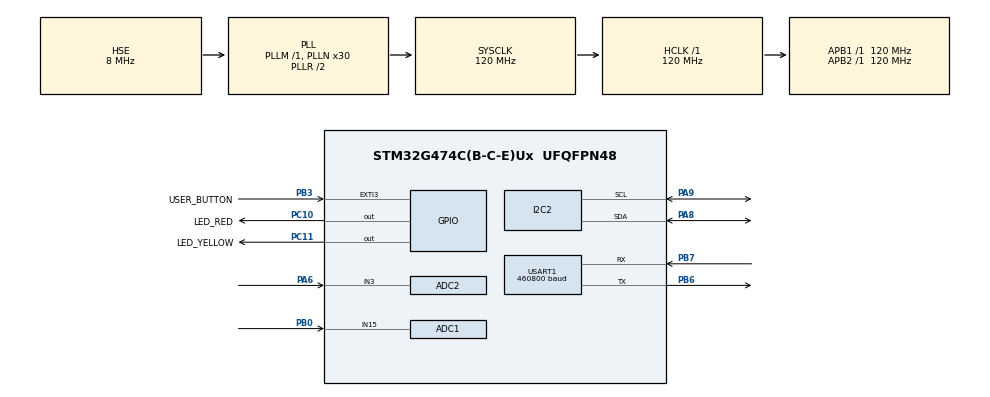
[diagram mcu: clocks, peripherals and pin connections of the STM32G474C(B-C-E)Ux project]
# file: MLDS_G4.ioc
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ADC1.Channel-0\#ChannelRegularConversion=ADC_CHANNEL_15
ADC1.ContinuousConvMode=ENABLE
ADC1.DMAContinuousRequests=ENABLE
ADC1.NbrOfConversionFlag=1
ADC1.OffsetNumber-0\#ChannelRegularConversion=ADC_OFFSET_NONE
ADC1.Rank-0\#ChannelRegularConversion=1
ADC1.SamplingTime-0\#ChannelRegularConversion=ADC_SAMPLETIME_47CYCLES_5
ADC1.master=1
ADC2.Channel-0\#ChannelRegularConversion=ADC_CHANNEL_3
ADC2.ContinuousConvMode=ENABLE
ADC2.DMAContinuousRequests=ENABLE
ADC2.NbrOfConversionFlag=1
ADC2.OffsetNumber-0\#ChannelRegularConversion=ADC_OFFSET_NONE
ADC2.OversamplingMode=ENABLE
ADC2.Rank-0\#ChannelRegularConversion=1
ADC2.Ratio=ADC_OVERSAMPLING_RATIO_128
ADC2.RightBitShift=ADC_RIGHTBITSHIFT_7
ADC2.SamplingTime-0\#ChannelRegularConversion=ADC_SAMPLETIME_247CYCLES_5
ARM.CMSIS.5.6.0.CMSISJjDSP=Library
Dma.ADC1.2.Direction=DMA_PERIPH_TO_MEMORY
Dma.ADC1.2.EventEnable=DISABLE
Dma.ADC1.2.Instance=DMA1_Channel1
Dma.ADC1.2.MemDataAlignment=DMA_MDATAALIGN_HALFWORD
Dma.ADC1.2.MemInc=DMA_MINC_ENABLE
Dma.ADC1.2.Mode=DMA_CIRCULAR
Dma.ADC1.2.PeriphDataAlignment=DMA_PDATAALIGN_HALFWORD
Dma.ADC1.2.PeriphInc=DMA_PINC_DISABLE
Dma.ADC1.2.Polarity=HAL_DMAMUX_REQ_GEN_RISING
Dma.ADC1.2.Priority=DMA_PRIORITY_VERY_HIGH
Dma.ADC1.2.RequestNumber=1
Dma.ADC1.2.SignalID=NONE
Dma.ADC1.2.SyncEnable=DISABLE
Dma.ADC1.2.SyncPolarity=HAL_DMAMUX_SYNC_NO_EVENT
Dma.ADC1.2.SyncRequestNumber=1
Dma.ADC1.2.SyncSignalID=NONE
Dma.ADC2.1.Direction=DMA_PERIPH_TO_MEMORY
Dma.ADC2.1.EventEnable=DISABLE
Dma.ADC2.1.Instance=DMA1_Channel3
Dma.ADC2.1.MemDataAlignment=DMA_MDATAALIGN_HALFWORD
Dma.ADC2.1.MemInc=DMA_MINC_ENABLE
Dma.ADC2.1.Mode=DMA_CIRCULAR
Dma.ADC2.1.PeriphDataAlignment=DMA_PDATAALIGN_HALFWORD
Dma.ADC2.1.PeriphInc=DMA_PINC_DISABLE
Dma.ADC2.1.Polarity=HAL_DMAMUX_REQ_GEN_RISING
Dma.ADC2.1.Priority=DMA_PRIORITY_HIGH
Dma.ADC2.1.RequestNumber=1
Dma.ADC2.1.SignalID=NONE
Dma.ADC2.1.SyncEnable=DISABLE
Dma.ADC2.1.SyncPolarity=HAL_DMAMUX_SYNC_NO_EVENT
Dma.ADC2.1.SyncRequestNumber=1
Dma.ADC2.1.SyncSignalID=NONE
Dma.Request0=USART1_TX
Dma.Request1=ADC2
Dma.Request2=ADC1
Dma.Request3=USART1_RX
Dma.USART1_RX.3.Direction=DMA_PERIPH_TO_MEMORY
Dma.USART1_RX.3.EventEnable=DISABLE
Dma.USART1_RX.3.Instance=DMA1_Channel4
Dma.USART1_RX.3.MemDataAlignment=DMA_MDATAALIGN_BYTE
Dma.USART1_RX.3.MemInc=DMA_MINC_ENABLE
Dma.USART1_RX.3.Mode=DMA_NORMAL
Dma.USART1_RX.3.PeriphDataAlignment=DMA_PDATAALIGN_BYTE
Dma.USART1_RX.3.PeriphInc=DMA_PINC_DISABLE
Dma.USART1_RX.3.Polarity=HAL_DMAMUX_REQ_GEN_RISING
Dma.USART1_RX.3.Priority=DMA_PRIORITY_LOW
Dma.USART1_RX.3.RequestNumber=1
Dma.USART1_RX.3.SignalID=NONE
Dma.USART1_RX.3.SyncEnable=DISABLE
Dma.USART1_RX.3.SyncPolarity=HAL_DMAMUX_SYNC_NO_EVENT
Dma.USART1_RX.3.SyncRequestNumber=1
Dma.USART1_RX.3.SyncSignalID=NONE
Dma.USART1_TX.0.Direction=DMA_MEMORY_TO_PERIPH
Dma.USART1_TX.0.EventEnable=DISABLE
Dma.USART1_TX.0.Instance=DMA1_Channel2
Dma.USART1_TX.0.MemDataAlignment=DMA_MDATAALIGN_BYTE
Dma.USART1_TX.0.MemInc=DMA_MINC_ENABLE
Dma.USART1_TX.0.Mode=DMA_NORMAL
Dma.USART1_TX.0.PeriphDataAlignment=DMA_PDATAALIGN_BYTE
Dma.USART1_TX.0.PeriphInc=DMA_PINC_DISABLE
Dma.USART1_TX.0.Polarity=HAL_DMAMUX_REQ_GEN_RISING
Dma.USART1_TX.0.Priority=DMA_PRIORITY_MEDIUM
Dma.USART1_TX.0.RequestNumber=1
Dma.USART1_TX.0.SignalID=NONE
Dma.USART1_TX.0.SyncEnable=DISABLE
Dma.USART1_TX.0.SyncPolarity=HAL_DMAMUX_SYNC_NO_EVENT
Dma.USART1_TX.0.SyncRequestNumber=1
Dma.USART1_TX.0.SyncSignalID=NONE
I2C2.OwnAddress=64
I2C2.Timing=0x30A175AB
Mcu.Family=STM32G4
Mcu.Name=STM32G474C(B-C-E)Ux
Mcu.Package=UFQFPN48
NVIC.DMA1_Channel1_IRQn=true\:0\:0\:false\:false\:true\:false\:true\:true
NVIC.DMA1_Channel2_IRQn=true\:0\:0\:false\:false\:true\:false\:true\:true
NVIC.DMA1_Channel3_IRQn=true\:0\:0\:false\:false\:true\:false\:true\:true
NVIC.DMA1_Channel4_IRQn=true\:0\:0\:false\:false\:true\:false\:true\:true
NVIC.EXTI3_IRQn=true\:0\:0\:false\:false\:true\:true\:true\:true
NVIC.I2C2_ER_IRQn=true\:0\:0\:false\:false\:true\:true\:true\:true
NVIC.I2C2_EV_IRQn=true\:0\:0\:false\:false\:true\:true\:true\:true
NVIC.PriorityGroup=NVIC_PRIORITYGROUP_4
NVIC.TIM2_IRQn=true\:0\:0\:false\:false\:true\:true\:true\:true
NVIC.USART1_IRQn=true\:1\:0\:true\:false\:true\:true\:true\:true
PA13.Mode=Serial_Wire
PA13.Signal=SYS_JTMS-SWDIO
PA14.Mode=Serial_Wire
PA14.Signal=SYS_JTCK-SWCLK
PA6.Mode=IN3-Single-Ended
PA6.Signal=ADC2_IN3
PA8.Mode=I2C
PA8.Signal=I2C2_SDA
PA9.Mode=I2C
PA9.Signal=I2C2_SCL
PB0.Mode=IN15-Single-Ended
PB0.Signal=ADC1_IN15
PB3.GPIO_Label=USER_BUTTON
PB3.GPIO_ModeDefaultEXTI=GPIO_MODE_IT_RISING_FALLING
PB3.GPIO_PuPd=GPIO_PULLUP
PB3.Signal=GPXTI3
PB6.Mode=Asynchronous
PB6.Signal=USART1_TX
PB7.Mode=Asynchronous
PB7.Signal=USART1_RX
PC10.GPIO_Label=LED_RED
PC10.Signal=GPIO_Output
PC11.GPIO_Label=LED_YELLOW
PC11.Signal=GPIO_Output
PF0-OSC_IN.Mode=HSE-External-Oscillator
PF0-OSC_IN.Signal=RCC_OSC_IN
PF1-OSC_OUT.Mode=HSE-External-Oscillator
PF1-OSC_OUT.Signal=RCC_OSC_OUT
ProjectManager.HeapSize=0x200
ProjectManager.StackSize=0x400
ProjectManager.TargetToolchain=STM32CubeIDE
RCC.ADC12Freq_Value=120000000
RCC.ADC345Freq_Value=120000000
RCC.AHBFreq_Value=120000000
RCC.APB1Freq_Value=120000000
RCC.APB1TimFreq_Value=120000000
RCC.APB2Freq_Value=120000000
RCC.APB2TimFreq_Value=120000000
RCC.CortexFreq_Value=120000000
RCC.EXTERNAL_CLOCK_VALUE=12288000
RCC.HCLKFreq_Value=120000000
RCC.HSE_VALUE=8000000
RCC.HSI48_VALUE=48000000
RCC.HSI_VALUE=16000000
RCC.LSE_VALUE=32768
RCC.PLLN=30
RCC.PLLSourceVirtual=RCC_PLLSOURCE_HSE
RCC.SYSCLKFreq_VALUE=120000000
RCC.SYSCLKSource=RCC_SYSCLKSOURCE_PLLCLK
RCC.USBFreq_Value=120000000
RCC.VCOOutputFreq_Value=240000000
TIM2.AutoReloadPreload=TIM_AUTORELOAD_PRELOAD_DISABLE
TIM2.PeriodNoDither=9999999
TIM2.Prescaler=119
USART1.BaudRate=460800
USART1.VirtualMode-Asynchronous=VM_ASYNC
VP_ARM.CMSIS_VS_CMSISJjDSP_1.7.0_5.6.0.Mode=CMSISJjDSP
VP_SYS_VS_DBSignals.Mode=DisableDeadBatterySignals
VP_TIM2_VS_ClockSourceINT.Mode=Internal
board=custom

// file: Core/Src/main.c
/* USER CODE BEGIN Header */
/**
  ******************************************************************************
  * @file           : main.c
  * @brief          : Main program body
  ******************************************************************************
  * @attention
  *
  * Copyright (c) 2026 STMicroelectronics.
  * All rights reserved.
  *
  * This software is licensed under terms that can be found in the LICENSE file
  * in the root directory of this software component.
  * If no LICENSE file comes with this software, it is provided AS-IS.
  *
  ******************************************************************************
  */
/* USER CODE END Header */
#include "main.h"

/* USER CODE BEGIN Includes */
#include <string.h>
#include <math.h>
#include <float.h>
#include <stdio.h>
#include <sys/stat.h>

#include "CV.h"
#include "laser.h"
#include "fit.h"
#include "util.h"
#include "i2c_slave.h"
/* USER CODE END Includes */

/* USER CODE BEGIN PTD */
typedef enum {
    APP_STATE_NORMAL,
    APP_STATE_ACQUIRING,
    APP_STATE_FITTING,
} app_state_t;
/* USER CODE END PTD */

/* USER CODE BEGIN PD */

/* --- Flash Storage Addresses --- */
#define CONFIG_FLASH_ADDR           0x0807F800
#define CV_MODEL_FLASH_ADDR         0x0807F000
#define PREV_CV_MODEL_FLASH_ADDR    0x0807E800

/* --- Buffer & Communication Sizing --- */
#ifndef BUF_SIZE
#define BUF_SIZE                    2000
#endif
// DMA landing buffer for inbound config frames; oversized so a burst with a stray
// leading byte is still captured whole and can be re-synchronized below.
#define UART_RX_BUF_SIZE            32

/* --- LED UI Timing (ms) --- */
#define LED_LOW_SIGNAL_PERIOD_MS    250
#define LED_LOW_SIGNAL_ON_MS        10

/* --- Profiling Configuration --- */
#define ENABLE_PROFILING            1   // DWT cycle profiling
#define CPU_FREQ_MHZ                120

/* --- Reset Button Delay Time --- */
#define TIME_10S 9999999
#define TIME_1S  999999

/* USER CODE END PD */

ADC_HandleTypeDef hadc1;
ADC_HandleTypeDef hadc2;
DMA_HandleTypeDef hdma_adc1;
DMA_HandleTypeDef hdma_adc2;

I2C_HandleTypeDef hi2c2;

TIM_HandleTypeDef htim2;

UART_HandleTypeDef huart1;
DMA_HandleTypeDef hdma_usart1_tx;
DMA_HandleTypeDef hdma_usart1_rx;

/* USER CODE BEGIN PV */
/* --- Application & Calibration State --- */
app_state_t app_state = APP_STATE_NORMAL;
laser_calibration_t calibration = { DEFAULT_CV_PARAMS, CW_CALIBRATION_DEFAULT };
laser_calibration_t prev_calibration = { DEFAULT_CV_PARAMS, CW_CALIBRATION_DEFAULT };
float cv_capture[CV_LUT_SIZE];
#if CV_CAPTURE_MODE == CV_CAPTURE_MODE_AVG
uint32_t cv_count_capture[CV_LUT_SIZE];
#endif
float fit_final_mse = 0.0f;
uint32_t fit_epochs_run = 0;
float fit_r_squared = 0.0f;

// cw threshold floors captured during the sweep (min cw once ml mean passes each ref).
float cal_cw_low = FLT_MAX;
float cal_cw_sat = FLT_MAX;

/* --- Laser Processing & Configuration State --- */
sliding_cv_t sliding_cv = {0};
float cv_threshold_lut[CV_LUT_SIZE] = {0};
laser_state_t current_laser_state = {0};
laser_config_t current_config = LASER_CONFIG_DEFAULT;  // Defaults

/* --- Hardware & DMA Buffers --- */
uint16_t adc1_val[BUF_SIZE];
uint16_t adc2_val;
uint8_t uart_rx_buf[UART_RX_BUF_SIZE];
laser_config_t rx_config_buffer;

/* --- Telemetry Frames --- */
laser_frame_t laser_frame = {0};
laser_err_t laser_err = {0};

/* --- ISR Flags & Diagnostics (global & volatile) --- */
volatile uint8_t adc_flag = 0;
volatile uint16_t adc_overrun = 0;
volatile uint8_t uart_flag = 0;
volatile uint8_t tim_10s_passed_flag = 0;
volatile uint8_t tim_3s_active_flag = 0;
volatile uint8_t config_flash_cleared_led_status = 0;
volatile uint16_t uart_underrun = 0;
volatile uint16_t uart_rx_flag = 0;

#ifdef ENABLE_PROFILING
volatile uint32_t process_laser_logic_cycles = 0;
#endif
/* USER CODE END PV */

void SystemClock_Config(void);
static void MX_GPIO_Init(void);
static void MX_DMA_Init(void);
static void MX_USART1_UART_Init(void);
static void MX_ADC2_Init(void);
static void MX_I2C2_Init(void);
static void MX_ADC1_Init(void);
static void MX_TIM2_Init(void);
/* USER CODE BEGIN PFP */
/* --- UART & Telemetry Helpers --- */
static void uart_rx_arm(void);
void laser_frame_send(laser_frame_t* frame, sliding_cv_t* scv, laser_state_t* state);
void laser_err_send(laser_err_t* frame);

/* --- Application Subsystem Tasks --- */
static void app_load_flash_state(void);
static void app_clear_config_flash (void);
static void app_handle_uart_rx(void);
static void app_update_calibration_state(void);
static void app_record_calibration_sample(void);
static void app_send_telemetry(void);
static void app_process_adc_buffer(void);
static void app_update_leds(void);
/* USER CODE END PFP */

/* USER CODE BEGIN 0 */

// (Re)arm idle-terminated DMA reception (restarts at index 0).
static void uart_rx_arm(void)
{
  HAL_UARTEx_ReceiveToIdle_DMA(&huart1, uart_rx_buf, UART_RX_BUF_SIZE);
  __HAL_DMA_DISABLE_IT(&hdma_usart1_rx, DMA_IT_HT);  // only act on the idle/complete event
}

void laser_frame_send(laser_frame_t* frame, sliding_cv_t* scv, laser_state_t* state)
{
  frame->frame_start = 0xAA;
  frame->ml_rms_mv = state->ml_rms_mv;
  frame->cw_mv = state->cw_mv;
  frame->current_cv = scv->current_cv;
  frame->current_cv_threshold = state->current_cv_threshold;
  frame->status = state->status;
  frame->frame_end = 0xBB;
  HAL_UART_Transmit_DMA(&huart1, (uint8_t*)frame, sizeof(laser_frame_t));
}

void laser_err_send(laser_err_t* frame)
{
  frame->frame_start = 0xAA;
  frame->mse = calibration.mse;
  frame->r_squared = calibration.r_squared;
  frame->frame_end = 0xBB;
  HAL_UART_Transmit_DMA(&huart1, (uint8_t*)frame, sizeof(laser_err_t));
}

/* --- HAL Interrupt Callbacks --- */

void HAL_ADC_ConvHalfCpltCallback(ADC_HandleTypeDef* hadc)
{
  if (hadc == &hadc1) {
    if (adc_flag != 0) {
      adc_overrun += 1;
    }
    adc_flag = 1;
  }
}

void HAL_ADC_ConvCpltCallback(ADC_HandleTypeDef* hadc)
{
  if (hadc == &hadc1) {
    if (adc_flag != 0) {
      adc_overrun += 1;
    }
    adc_flag = 2;
  }
}

void HAL_UART_TxCpltCallback(UART_HandleTypeDef *huart)
{
  if (huart == &huart1) {
    uart_flag = 1;
  }
}

// Fires on idle line or DMA completion. Scan for a 0xAA..0xBB frame to re-sync on
// the start byte so a stray leading byte can't permanently break framing.
void HAL_UARTEx_RxEventCallback(UART_HandleTypeDef *huart, uint16_t Size)
{
  if (huart == &huart1) {
    for (uint16_t i = 0; i + sizeof(laser_config_t) <= Size; i++) {
      if (uart_rx_buf[i] == 0xAA &&
          uart_rx_buf[i + sizeof(laser_config_t) - 1] == 0xBB) {
        memcpy(&rx_config_buffer, &uart_rx_buf[i], sizeof(laser_config_t));
        uart_rx_flag = 1;
        break;
      }
    }
    uart_rx_arm();  // always re-arm
  }
}

// Recover reception after any UART error, else a single error stops config intake.
void HAL_UART_ErrorCallback(UART_HandleTypeDef *huart)
{
  if (huart == &huart1) {
    __HAL_UART_CLEAR_FLAG(&huart1, UART_CLEAR_OREF | UART_CLEAR_NEF |
                                   UART_CLEAR_FEF  | UART_CLEAR_PEF);
    uart_rx_arm();
  }
}

void HAL_TIM_PeriodElapsedCallback(TIM_HandleTypeDef *htim) {
  if (htim->Instance == TIM2) {
    if (TIM2->ARR == TIME_10S){
      tim_10s_passed_flag = 1;
      HAL_TIM_Base_Stop_IT(&htim2);
      TIM2->ARR = TIME_1S;
      HAL_TIM_Base_Start_IT(&htim2);
      tim_3s_active_flag = 1;
    }
    else if (TIM2->ARR == TIME_1S) {
      tim_3s_active_flag = 0;
      HAL_TIM_Base_Stop_IT(&htim2);
    }
  }
}

void HAL_GPIO_EXTI_Callback (uint16_t GPIO_Pin) {

  if (GPIO_Pin == USER_BUTTON_Pin) {
    GPIO_PinState pin_state = HAL_GPIO_ReadPin(USER_BUTTON_GPIO_Port, USER_BUTTON_Pin);
    if (pin_state == GPIO_PIN_RESET) {
      TIM2->ARR = TIME_10S;
      HAL_TIM_Base_Start_IT(&htim2);
    }
    else {
      if (TIM2->ARR == TIME_10S)
      HAL_TIM_Base_Stop_IT(&htim2);
    }
  }

}
/* USER CODE END 0 */

int main(void)
{

  /* MCU Configuration--------------------------------------------------------*/

  /* Reset of all peripherals, Initializes the Flash interface and the Systick. */
  HAL_Init();

  /* Configure the system clock */
  SystemClock_Config();

  /* Initialize all configured peripherals */
  MX_GPIO_Init();
  MX_DMA_Init();
  MX_USART1_UART_Init();
  MX_ADC2_Init();
  MX_I2C2_Init();
  MX_ADC1_Init();
  MX_TIM2_Init();
  /* USER CODE BEGIN 2 */
#ifdef ENABLE_PROFILING
  CoreDebug->DEMCR |= CoreDebug_DEMCR_TRCENA_Msk;
  DWT->CYCCNT = 0;
  DWT->CTRL |= DWT_CTRL_CYCCNTENA_Msk;
#endif

  app_load_flash_state();
  i2c_slave_init(&hi2c2, &calibration);

  uart_rx_arm();
  HAL_ADCEx_Calibration_Start(&hadc1, ADC_SINGLE_ENDED);
  HAL_ADCEx_Calibration_Start(&hadc2, ADC_SINGLE_ENDED);
  HAL_ADC_Start_DMA(&hadc1, (uint32_t*)adc1_val, BUF_SIZE);
  HAL_ADC_Start_DMA(&hadc2, (uint32_t*)&adc2_val, 1);
  uart_flag = 1;

  /* USER CODE END 2 */

  /* Infinite loop */
  /* USER CODE BEGIN WHILE */
  while (1)
  {
    app_handle_uart_rx();
    app_clear_config_flash();
    app_update_calibration_state();
    app_process_adc_buffer();
    app_update_leds();
    /* USER CODE END WHILE */

  }
}

void SystemClock_Config(void)
{
  RCC_OscInitTypeDef RCC_OscInitStruct = {0};
  RCC_ClkInitTypeDef RCC_ClkInitStruct = {0};

  /** Configure the main internal regulator output voltage
  */
  HAL_PWREx_ControlVoltageScaling(PWR_REGULATOR_VOLTAGE_SCALE1);

  /** Initializes the RCC Oscillators according to the specified parameters
  * in the RCC_OscInitTypeDef structure.
  */
  RCC_OscInitStruct.OscillatorType = RCC_OSCILLATORTYPE_HSE;
  RCC_OscInitStruct.HSEState = RCC_HSE_ON;
  RCC_OscInitStruct.PLL.PLLState = RCC_PLL_ON;
  RCC_OscInitStruct.PLL.PLLSource = RCC_PLLSOURCE_HSE;
  RCC_OscInitStruct.PLL.PLLM = RCC_PLLM_DIV1;
  RCC_OscInitStruct.PLL.PLLN = 30;
  RCC_OscInitStruct.PLL.PLLP = RCC_PLLP_DIV2;
  RCC_OscInitStruct.PLL.PLLQ = RCC_PLLQ_DIV2;
  RCC_OscInitStruct.PLL.PLLR = RCC_PLLR_DIV2;
  if (HAL_RCC_OscConfig(&RCC_OscInitStruct) != HAL_OK)
  {
    Error_Handler();
  }

  /** Initializes the CPU, AHB and APB buses clocks
  */
  RCC_ClkInitStruct.ClockType = RCC_CLOCKTYPE_HCLK|RCC_CLOCKTYPE_SYSCLK
                              |RCC_CLOCKTYPE_PCLK1|RCC_CLOCKTYPE_PCLK2;
  RCC_ClkInitStruct.SYSCLKSource = RCC_SYSCLKSOURCE_PLLCLK;
  RCC_ClkInitStruct.AHBCLKDivider = RCC_SYSCLK_DIV1;
  RCC_ClkInitStruct.APB1CLKDivider = RCC_HCLK_DIV1;
  RCC_ClkInitStruct.APB2CLKDivider = RCC_HCLK_DIV1;

  if (HAL_RCC_ClockConfig(&RCC_ClkInitStruct, FLASH_LATENCY_3) != HAL_OK)
  {
    Error_Handler();
  }
}

static void MX_ADC1_Init(void)
{

  ADC_MultiModeTypeDef multimode = {0};
  ADC_ChannelConfTypeDef sConfig = {0};

  /** Common config
  */
  hadc1.Instance = ADC1;
  hadc1.Init.ClockPrescaler = ADC_CLOCK_SYNC_PCLK_DIV2;
  hadc1.Init.Resolution = ADC_RESOLUTION_12B;
  hadc1.Init.DataAlign = ADC_DATAALIGN_RIGHT;
  hadc1.Init.GainCompensation = 0;
  hadc1.Init.ScanConvMode = ADC_SCAN_DISABLE;
  hadc1.Init.EOCSelection = ADC_EOC_SINGLE_CONV;
  hadc1.Init.LowPowerAutoWait = DISABLE;
  hadc1.Init.ContinuousConvMode = ENABLE;
  hadc1.Init.NbrOfConversion = 1;
  hadc1.Init.DiscontinuousConvMode = DISABLE;
  hadc1.Init.ExternalTrigConv = ADC_SOFTWARE_START;
  hadc1.Init.ExternalTrigConvEdge = ADC_EXTERNALTRIGCONVEDGE_NONE;
  hadc1.Init.DMAContinuousRequests = ENABLE;
  hadc1.Init.Overrun = ADC_OVR_DATA_PRESERVED;
  hadc1.Init.OversamplingMode = DISABLE;
  if (HAL_ADC_Init(&hadc1) != HAL_OK)
  {
    Error_Handler();
  }

  /** Configure the ADC multi-mode
  */
  multimode.Mode = ADC_MODE_INDEPENDENT;
  if (HAL_ADCEx_MultiModeConfigChannel(&hadc1, &multimode) != HAL_OK)
  {
    Error_Handler();
  }

  /** Configure Regular Channel
  */
  sConfig.Channel = ADC_CHANNEL_15;
  sConfig.Rank = ADC_REGULAR_RANK_1;
  sConfig.SamplingTime = ADC_SAMPLETIME_47CYCLES_5;
  sConfig.SingleDiff = ADC_SINGLE_ENDED;
  sConfig.OffsetNumber = ADC_OFFSET_NONE;
  sConfig.Offset = 0;
  if (HAL_ADC_ConfigChannel(&hadc1, &sConfig) != HAL_OK)
  {
    Error_Handler();
  }

}

static void MX_ADC2_Init(void)
{

  ADC_ChannelConfTypeDef sConfig = {0};

  /** Common config
  */
  hadc2.Instance = ADC2;
  hadc2.Init.ClockPrescaler = ADC_CLOCK_SYNC_PCLK_DIV2;
  hadc2.Init.Resolution = ADC_RESOLUTION_12B;
  hadc2.Init.DataAlign = ADC_DATAALIGN_RIGHT;
  hadc2.Init.GainCompensation = 0;
  hadc2.Init.ScanConvMode = ADC_SCAN_DISABLE;
  hadc2.Init.EOCSelection = ADC_EOC_SINGLE_CONV;
  hadc2.Init.LowPowerAutoWait = DISABLE;
  hadc2.Init.ContinuousConvMode = ENABLE;
  hadc2.Init.NbrOfConversion = 1;
  hadc2.Init.DiscontinuousConvMode = DISABLE;
  hadc2.Init.ExternalTrigConv = ADC_SOFTWARE_START;
  hadc2.Init.ExternalTrigConvEdge = ADC_EXTERNALTRIGCONVEDGE_NONE;
  hadc2.Init.DMAContinuousRequests = ENABLE;
  hadc2.Init.Overrun = ADC_OVR_DATA_PRESERVED;
  hadc2.Init.OversamplingMode = ENABLE;
  hadc2.Init.Oversampling.Ratio = ADC_OVERSAMPLING_RATIO_128;
  hadc2.Init.Oversampling.RightBitShift = ADC_RIGHTBITSHIFT_7;
  hadc2.Init.Oversampling.TriggeredMode = ADC_TRIGGEREDMODE_SINGLE_TRIGGER;
  hadc2.Init.Oversampling.OversamplingStopReset = ADC_REGOVERSAMPLING_CONTINUED_MODE;
  if (HAL_ADC_Init(&hadc2) != HAL_OK)
  {
    Error_Handler();
  }

  /** Configure Regular Channel
  */
  sConfig.Channel = ADC_CHANNEL_3;
  sConfig.Rank = ADC_REGULAR_RANK_1;
  sConfig.SamplingTime = ADC_SAMPLETIME_247CYCLES_5;
  sConfig.SingleDiff = ADC_SINGLE_ENDED;
  sConfig.OffsetNumber = ADC_OFFSET_NONE;
  sConfig.Offset = 0;
  if (HAL_ADC_ConfigChannel(&hadc2, &sConfig) != HAL_OK)
  {
    Error_Handler();
  }

}

static void MX_I2C2_Init(void)
{

  hi2c2.Instance = I2C2;
  hi2c2.Init.Timing = 0x30A175AB;
  hi2c2.Init.OwnAddress1 = 128;
  hi2c2.Init.AddressingMode = I2C_ADDRESSINGMODE_7BIT;
  hi2c2.Init.DualAddressMode = I2C_DUALADDRESS_DISABLE;
  hi2c2.Init.OwnAddress2 = 0;
  hi2c2.Init.OwnAddress2Masks = I2C_OA2_NOMASK;
  hi2c2.Init.GeneralCallMode = I2C_GENERALCALL_DISABLE;
  hi2c2.Init.NoStretchMode = I2C_NOSTRETCH_DISABLE;
  if (HAL_I2C_Init(&hi2c2) != HAL_OK)
  {
    Error_Handler();
  }

  /** Configure Analogue filter
  */
  if (HAL_I2CEx_ConfigAnalogFilter(&hi2c2, I2C_ANALOGFILTER_ENABLE) != HAL_OK)
  {
    Error_Handler();
  }

  /** Configure Digital filter
  */
  if (HAL_I2CEx_ConfigDigitalFilter(&hi2c2, 0) != HAL_OK)
  {
    Error_Handler();
  }

}

static void MX_TIM2_Init(void)
{

  TIM_ClockConfigTypeDef sClockSourceConfig = {0};
  TIM_MasterConfigTypeDef sMasterConfig = {0};

  htim2.Instance = TIM2;
  htim2.Init.Prescaler = 119;
  htim2.Init.CounterMode = TIM_COUNTERMODE_UP;
  htim2.Init.Period = 9999999;
  htim2.Init.ClockDivision = TIM_CLOCKDIVISION_DIV1;
  htim2.Init.AutoReloadPreload = TIM_AUTORELOAD_PRELOAD_DISABLE;
  if (HAL_TIM_Base_Init(&htim2) != HAL_OK)
  {
    Error_Handler();
  }
  sClockSourceConfig.ClockSource = TIM_CLOCKSOURCE_INTERNAL;
  if (HAL_TIM_ConfigClockSource(&htim2, &sClockSourceConfig) != HAL_OK)
  {
    Error_Handler();
  }
  sMasterConfig.MasterOutputTrigger = TIM_TRGO_RESET;
  sMasterConfig.MasterSlaveMode = TIM_MASTERSLAVEMODE_DISABLE;
  if (HAL_TIMEx_MasterConfigSynchronization(&htim2, &sMasterConfig) != HAL_OK)
  {
    Error_Handler();
  }

}

static void MX_USART1_UART_Init(void)
{

  huart1.Instance = USART1;
  huart1.Init.BaudRate = 460800;
  huart1.Init.WordLength = UART_WORDLENGTH_8B;
  huart1.Init.StopBits = UART_STOPBITS_1;
  huart1.Init.Parity = UART_PARITY_NONE;
  huart1.Init.Mode = UART_MODE_TX_RX;
  huart1.Init.HwFlowCtl = UART_HWCONTROL_NONE;
  huart1.Init.OverSampling = UART_OVERSAMPLING_16;
  huart1.Init.OneBitSampling = UART_ONE_BIT_SAMPLE_DISABLE;
  huart1.Init.ClockPrescaler = UART_PRESCALER_DIV1;
  huart1.AdvancedInit.AdvFeatureInit = UART_ADVFEATURE_NO_INIT;
  if (HAL_UART_Init(&huart1) != HAL_OK)
  {
    Error_Handler();
  }
  if (HAL_UARTEx_SetTxFifoThreshold(&huart1, UART_TXFIFO_THRESHOLD_1_8) != HAL_OK)
  {
    Error_Handler();
  }
  if (HAL_UARTEx_SetRxFifoThreshold(&huart1, UART_RXFIFO_THRESHOLD_1_8) != HAL_OK)
  {
    Error_Handler();
  }
  if (HAL_UARTEx_DisableFifoMode(&huart1) != HAL_OK)
  {
    Error_Handler();
  }

}

static void MX_DMA_Init(void)
{

  /* DMA controller clock enable */
  __HAL_RCC_DMAMUX1_CLK_ENABLE();
  __HAL_RCC_DMA1_CLK_ENABLE();

  /* DMA interrupt init */
  /* DMA1_Channel1_IRQn interrupt configuration */
  HAL_NVIC_SetPriority(DMA1_Channel1_IRQn, 0, 0);
  HAL_NVIC_EnableIRQ(DMA1_Channel1_IRQn);
  /* DMA1_Channel2_IRQn interrupt configuration */
  HAL_NVIC_SetPriority(DMA1_Channel2_IRQn, 0, 0);
  HAL_NVIC_EnableIRQ(DMA1_Channel2_IRQn);
  /* DMA1_Channel3_IRQn interrupt configuration */
  HAL_NVIC_SetPriority(DMA1_Channel3_IRQn, 0, 0);
  HAL_NVIC_EnableIRQ(DMA1_Channel3_IRQn);
  /* DMA1_Channel4_IRQn interrupt configuration */
  HAL_NVIC_SetPriority(DMA1_Channel4_IRQn, 0, 0);
  HAL_NVIC_EnableIRQ(DMA1_Channel4_IRQn);

}

static void MX_GPIO_Init(void)
{
  GPIO_InitTypeDef GPIO_InitStruct = {0};

  /* GPIO Ports Clock Enable */
  __HAL_RCC_GPIOF_CLK_ENABLE();
  __HAL_RCC_GPIOA_CLK_ENABLE();
  __HAL_RCC_GPIOB_CLK_ENABLE();
  __HAL_RCC_GPIOC_CLK_ENABLE();

  /*Configure GPIO pin Output Level */
  HAL_GPIO_WritePin(GPIOC, LED_RED_Pin|LED_YELLOW_Pin, GPIO_PIN_RESET);

  /*Configure GPIO pins : LED_RED_Pin LED_YELLOW_Pin */
  GPIO_InitStruct.Pin = LED_RED_Pin|LED_YELLOW_Pin;
  GPIO_InitStruct.Mode = GPIO_MODE_OUTPUT_PP;
  GPIO_InitStruct.Pull = GPIO_NOPULL;
  GPIO_InitStruct.Speed = GPIO_SPEED_FREQ_LOW;
  HAL_GPIO_Init(GPIOC, &GPIO_InitStruct);

  /*Configure GPIO pin : USER_BUTTON_Pin */
  GPIO_InitStruct.Pin = USER_BUTTON_Pin;
  GPIO_InitStruct.Mode = GPIO_MODE_IT_RISING_FALLING;
  GPIO_InitStruct.Pull = GPIO_PULLUP;
  HAL_GPIO_Init(USER_BUTTON_GPIO_Port, &GPIO_InitStruct);

  /* EXTI interrupt init*/
  HAL_NVIC_SetPriority(EXTI3_IRQn, 0, 0);
  HAL_NVIC_EnableIRQ(EXTI3_IRQn);

}

/* USER CODE BEGIN 4 */

// Load calibration and configuration from Flash, falling back to defaults if empty/invalid.
static void app_load_flash_state(void)
{
  uint16_t config_word_count = (sizeof(laser_config_t) + 3) / 4;
  uint16_t cal_word_count = (sizeof(laser_calibration_t) + 3) / 4;

  uint8_t update_config = 0;
  uint8_t update_cal = 0;
  uint8_t update_prev_cal = 0;

  Flash_Read_Data(CONFIG_FLASH_ADDR, (uint32_t*)&current_config, config_word_count);
  uint8_t fw_changed = (current_config.firmware_version != FIRMWARE_VERSION) ? 1 : 0;
  uint8_t flush_on_fw_update = (fw_changed && FLUSH_FLASH_ON_FW_UPDATE) ? 1 : 0;

  if (current_config.frame_start != 0xAA || current_config.frame_end != 0xBB || flush_on_fw_update) {
    current_config = LASER_CONFIG_DEFAULT;
    update_config = 1;
  } else if (fw_changed) {
    current_config.firmware_version = FIRMWARE_VERSION;
    update_config = 1;
  }
  current_config.ctrl_byte = 0;

  Flash_Read_Data(CV_MODEL_FLASH_ADDR, (uint32_t*)&calibration, cal_word_count);
  uint32_t* p_a = (uint32_t*)&calibration.cv.a;
  if (*p_a == 0xFFFFFFFF || flush_on_fw_update ||
      !(calibration.cw.cw_saturation > 0.0f) ||
      !(calibration.cw.cw_threshold_low > 0.0f)) {
    calibration.cv = DEFAULT_CV_PARAMS;
    calibration.cw = CW_CALIBRATION_DEFAULT;
    calibration.mse = 0.0f;
    calibration.r_squared = 0.0f;
    update_cal = 1;

  }

  // Load previous calibration backup from Flash, falling back to active calibration if empty/invalid.
  Flash_Read_Data(PREV_CV_MODEL_FLASH_ADDR, (uint32_t*)&prev_calibration, cal_word_count);
  uint32_t* p_prev_a = (uint32_t*)&prev_calibration.cv.a;
  if (*p_prev_a == 0xFFFFFFFF || flush_on_fw_update ||
      !(prev_calibration.cw.cw_saturation > 0.0f) ||
      !(prev_calibration.cw.cw_threshold_low > 0.0f)) {
    prev_calibration = calibration;
    update_prev_cal = 1;

  }
  if (update_config) {
    Flash_Write_Data(CONFIG_FLASH_ADDR, (uint32_t*)&current_config, config_word_count);
  }
  if (update_cal) {
    Flash_Write_Data(CV_MODEL_FLASH_ADDR, (uint32_t*)&calibration, cal_word_count);
  }
  if (update_prev_cal) {
    Flash_Write_Data(PREV_CV_MODEL_FLASH_ADDR, (uint32_t*)&prev_calibration, cal_word_count);
  }
  generate_cv_threshold_lut(cv_threshold_lut, &calibration.cv);
}

static void app_clear_config_flash (void) {
  if (!tim_10s_passed_flag) {
    return;
  }
  tim_10s_passed_flag = 0;

  uint16_t config_word_count = (sizeof(laser_config_t) + 3) / 4;
  uint16_t cal_word_count = (sizeof(laser_calibration_t) + 3) / 4;

  current_config = LASER_CONFIG_DEFAULT;

  calibration.cv = DEFAULT_CV_PARAMS;
  calibration.cw = CW_CALIBRATION_DEFAULT;
  calibration.mse = 0.0f;
  calibration.r_squared = 0.0f;

  prev_calibration = calibration;

  generate_cv_threshold_lut(cv_threshold_lut, &calibration.cv);

  Flash_Write_Data(CONFIG_FLASH_ADDR, (uint32_t*)&current_config, config_word_count);
  Flash_Write_Data(CV_MODEL_FLASH_ADDR, (uint32_t*)&calibration, cal_word_count);
  Flash_Write_Data(PREV_CV_MODEL_FLASH_ADDR, (uint32_t*)&prev_calibration, cal_word_count);

  i2c_slave_sync_ro(&current_laser_state, &sliding_cv, &calibration);
  current_config.ctrl_byte |= (REQUEST_PARAM_BIT | REQUEST_ERROR_BIT);
}

// Handle incoming UART configuration frames and persist changes to Flash.
static void app_handle_uart_rx(void)
{
  if (!uart_rx_flag) {
    return;
  }
  uart_rx_flag = 0;

  uint8_t pending_req = current_config.ctrl_byte & (REQUEST_PARAM_BIT | REQUEST_ERROR_BIT);

  // Persist config to flash only when it actually changed (blocking).
  if (rx_config_buffer.ctrl_byte & UPDATE_PARAM_BIT) {
    rx_config_buffer.firmware_version = FIRMWARE_VERSION;
    rx_config_buffer.ctrl_byte = 0;
    current_config.ctrl_byte = 0;
    if (memcmp((void*)&current_config, (void*)&rx_config_buffer, sizeof(laser_config_t)) != 0) {
      memcpy((void*)&current_config, (void*)&rx_config_buffer, sizeof(laser_config_t));
      uint16_t word_count = (sizeof(laser_config_t) + 3) / 4;
      Flash_Write_Data(CONFIG_FLASH_ADDR, (uint32_t*)&current_config, word_count);
    }
    current_config.ctrl_byte = REQUEST_PARAM_BIT | pending_req;
  } else {
    current_config.ctrl_byte = rx_config_buffer.ctrl_byte | pending_req;
  }
}

static void app_backup_prev_calibration(uint16_t cal_word_count)
{
  // Never overwrite a saved calibration backup with an uncalibrated (0.0, 0.0) state;
  if (calibration.mse == 0.0f && calibration.r_squared == 0.0f) {
    return;
  }
  prev_calibration = calibration;
  Flash_Write_Data(PREV_CV_MODEL_FLASH_ADDR, (uint32_t*)&prev_calibration, cal_word_count);
}

// Manage calibration reset/revert, button/UART acquisition trigger, and curve fitting.
static void app_update_calibration_state(void)
{
  uint16_t cal_word_count = (sizeof(laser_calibration_t) + 3) / 4;
  uint8_t cal_updated = 0;

  // Reset calibration parameters to default (only backing up if not already at default)
  if (current_config.ctrl_byte & RESET_TO_DEFAULT_BIT) {
    const laser_calibration_t default_cal = { DEFAULT_CV_PARAMS, CW_CALIBRATION_DEFAULT, 0.0f, 0.0f };
    if (memcmp(&calibration, &default_cal, sizeof(laser_calibration_t)) != 0) {
      app_backup_prev_calibration(cal_word_count);

      calibration = default_cal;
      generate_cv_threshold_lut(cv_threshold_lut, &calibration.cv);
      Flash_Write_Data(CV_MODEL_FLASH_ADDR, (uint32_t*)&calibration, cal_word_count);
      cal_updated = 1;
    }
    current_config.ctrl_byte &= ~RESET_TO_DEFAULT_BIT;
    current_config.ctrl_byte |= REQUEST_ERROR_BIT;
  }

  // Revert calibration parameters to the previous saved calibration
  if (current_config.ctrl_byte & REVERT_TO_PREV_BIT) {
    calibration = prev_calibration;
    generate_cv_threshold_lut(cv_threshold_lut, &calibration.cv);
    current_config.ctrl_byte &= ~REVERT_TO_PREV_BIT;
    Flash_Write_Data(CV_MODEL_FLASH_ADDR, (uint32_t*)&calibration, cal_word_count);
    current_config.ctrl_byte |= REQUEST_ERROR_BIT;
    cal_updated = 1;
  }

  // --- Button state machine: hold to sweep/acquire, release to fit ---
  if (current_config.ctrl_byte & START_ACQUIRING_BIT) {
    if (app_state == APP_STATE_NORMAL) {
      app_state = APP_STATE_ACQUIRING;
      for (int i = 0; i < CV_LUT_SIZE; i++) {
        cv_capture[i] = -1.0f;  // -1 = empty bin
      }
      cal_cw_low = FLT_MAX;
      cal_cw_sat = FLT_MAX;
    }
    current_config.ctrl_byte &= ~START_ACQUIRING_BIT;
  }
  else if(current_config.ctrl_byte & STOP_ACQUIRING_BIT){
    if (app_state == APP_STATE_ACQUIRING) {
      app_state = APP_STATE_FITTING;
    }
    current_config.ctrl_byte &= ~STOP_ACQUIRING_BIT;
  }

  if (app_state == APP_STATE_FITTING) {
    cv_model_params_t optimized_params = DEFAULT_CV_PARAMS;

    fit_cv_curve(cv_capture, &optimized_params, &fit_final_mse, &fit_epochs_run, &fit_r_squared);

    // Only commit the new calibration if curve fitting succeeded (fit_final_mse >= 0).
    // If fitting failed, keep the previous calibration untouched instead of falling back to defaults.
    if (fit_final_mse >= 0.0f) {
      app_backup_prev_calibration(cal_word_count);

      calibration.cv = optimized_params;
      calibration.mse = fit_final_mse;
      calibration.r_squared = fit_r_squared;
      // Only commit cw thresholds for reference levels reached during the sweep.
      if (cal_cw_low < FLT_MAX)  calibration.cw.cw_threshold_low = cal_cw_low;
      if (cal_cw_sat < FLT_MAX)  calibration.cw.cw_saturation   = cal_cw_sat;

      Flash_Write_Data(CV_MODEL_FLASH_ADDR, (uint32_t*)&calibration, cal_word_count);
      generate_cv_threshold_lut(cv_threshold_lut, &calibration.cv);
      cal_updated = 1;
    }

    current_config.ctrl_byte |= REQUEST_ERROR_BIT;
    app_state = APP_STATE_NORMAL;
  }

  if (cal_updated) {
    i2c_slave_sync_ro(&current_laser_state, &sliding_cv, &calibration);
  }
}

// Record CV envelope and CW threshold floors during a calibration sweep.
static void app_record_calibration_sample(void)
{
  float mean_mv = sliding_cv.current_mean;
  float ml_sat  = ML_THRESHOLD_HIGH_MV * current_config.saturation_percent;

  // Skip saturated samples: clipped ADC distorts variance and the LUT is
  // never consulted above ml_sat anyway.
  if (mean_mv < ml_sat) {
    float norm = mean_mv / ADC_VREF_MV;
    if (norm < 0.0f) norm = 0.0f;
    int idx = (int)roundf(norm * (float)(CV_LUT_SIZE - 1));
    if (idx >= 0 && idx < CV_LUT_SIZE) {
      int bin_size   = CV_LUT_SIZE / CV_CAPTURE_RESOLUTION;
      int mapped_idx = (idx / bin_size) * bin_size;
      if (mapped_idx >= CV_LUT_SIZE) mapped_idx = CV_LUT_SIZE - 1;
      if (cv_capture[mapped_idx] < 0.0f || sliding_cv.current_cv < cv_capture[mapped_idx]) {
        cv_capture[mapped_idx] = sliding_cv.current_cv;
      }
    }
  }

  // cw threshold floors (min cw once ml mean passes each ref); skip dropouts.
  float cw = current_laser_state.cw_mv;
  if (cw > 0.0f) {
    if (mean_mv >= CW_THRESHOLD_LOW_MV && cw < cal_cw_low) cal_cw_low = cw;
    if (mean_mv >= CW_THRESHOLD_HIGH_MV && cw < cal_cw_sat) cal_cw_sat = cw;
  }
}

// Schedule outbound UART DMA telemetry (laser frame, error stats, and config sync).
static void app_send_telemetry(void)
{
  if (uart_flag == 1) {
    uart_flag = 0;
      if (current_config.ctrl_byte & REQUEST_PARAM_BIT) {
        current_config.ctrl_byte &= ~REQUEST_PARAM_BIT;
        HAL_UART_Transmit_DMA(&huart1, (uint8_t*)&current_config, sizeof(laser_config_t));
      }
      else if (current_config.ctrl_byte & REQUEST_ERROR_BIT) {
        current_config.ctrl_byte &= ~REQUEST_ERROR_BIT;
        laser_err_send(&laser_err);
      }
      else {
        laser_frame_send(&laser_frame, &sliding_cv, &current_laser_state);
      }
    } else {
      uart_underrun++;
  }
}

// Process half/full ADC DMA buffer when ready and trigger telemetry.
static void app_process_adc_buffer(void)
{
  uint8_t flag = adc_flag;
  if (flag != 1 && flag != 2) {
    return;
  }

  uint16_t* buf_ptr = (flag == 1) ? adc1_val : (adc1_val + BUF_SIZE / 2);

#ifdef ENABLE_PROFILING
  uint32_t start_cycles = DWT->CYCCNT;
#endif

  laser_config_t active_config = current_config;
  if (app_state == APP_STATE_ACQUIRING) {
    active_config.target_window_ms = 1;   // acquisition override
  }

  process_laser_logic(buf_ptr, BUF_SIZE / 2, &sliding_cv, cv_threshold_lut,
                      &active_config, &calibration.cw, adc2_val, &current_laser_state);
  i2c_slave_sync_ro(&current_laser_state, &sliding_cv, &calibration);

  if (app_state == APP_STATE_ACQUIRING) {
    app_record_calibration_sample();
  }

#ifdef ENABLE_PROFILING
  process_laser_logic_cycles = (DWT->CYCCNT - start_cycles) / CPU_FREQ_MHZ;
#endif

  if (adc_flag == flag) {
    adc_flag = 0;
  }

  app_send_telemetry();
}

// Update status LEDs based on the current laser operating regime.
static void app_update_leds(void)
{
  if (tim_3s_active_flag) {
    HAL_GPIO_WritePin(LED_RED_GPIO_Port, LED_RED_Pin, GPIO_PIN_SET);
    HAL_GPIO_WritePin(LED_YELLOW_GPIO_Port, LED_YELLOW_Pin, GPIO_PIN_SET);
    return;
  }

  uint32_t current_tick = HAL_GetTick();
  static uint32_t last_led_tick = 0;
  static uint8_t red_led_state = 0;

  switch (current_laser_state.status) {
    case LOW_SIGNAL: {
      // Red briefly pulses, yellow off
      uint32_t time_in_period = (current_tick - last_led_tick) % LED_LOW_SIGNAL_PERIOD_MS;
      if (time_in_period < LED_LOW_SIGNAL_ON_MS) {
        if (red_led_state == 0) {
          HAL_GPIO_WritePin(LED_RED_GPIO_Port, LED_RED_Pin, GPIO_PIN_SET);
          red_led_state = 1;
        }
      } else {
        if (red_led_state == 1) {
          HAL_GPIO_WritePin(LED_RED_GPIO_Port, LED_RED_Pin, GPIO_PIN_RESET);
          red_led_state = 0;
        }
      }
      HAL_GPIO_WritePin(LED_YELLOW_GPIO_Port, LED_YELLOW_Pin, GPIO_PIN_RESET);
      break;
    }

    case SATURATED:
      // Red solid, yellow off
      HAL_GPIO_WritePin(LED_YELLOW_GPIO_Port, LED_YELLOW_Pin, GPIO_PIN_RESET);
      HAL_GPIO_WritePin(LED_RED_GPIO_Port, LED_RED_Pin, GPIO_PIN_SET);
      red_led_state = 1;
      break;

    case CW:
      // Both off
      HAL_GPIO_WritePin(LED_YELLOW_GPIO_Port, LED_YELLOW_Pin, GPIO_PIN_RESET);
      HAL_GPIO_WritePin(LED_RED_GPIO_Port, LED_RED_Pin, GPIO_PIN_RESET);
      red_led_state = 0;
      break;

    case MODE_LOCKED:
      // Yellow solid, red off
      HAL_GPIO_WritePin(LED_YELLOW_GPIO_Port, LED_YELLOW_Pin, GPIO_PIN_SET);
      HAL_GPIO_WritePin(LED_RED_GPIO_Port, LED_RED_Pin, GPIO_PIN_RESET);
      red_led_state = 0;
      break;

    case UNSTABLE:
    default:
      // Both off
      HAL_GPIO_WritePin(LED_RED_GPIO_Port, LED_RED_Pin, GPIO_PIN_RESET);
      HAL_GPIO_WritePin(LED_YELLOW_GPIO_Port, LED_YELLOW_Pin, GPIO_PIN_RESET);
      break;
  }
}

/* USER CODE END 4 */

void Error_Handler(void)
{
  __disable_irq();
  while (1)
  {
  }
}
